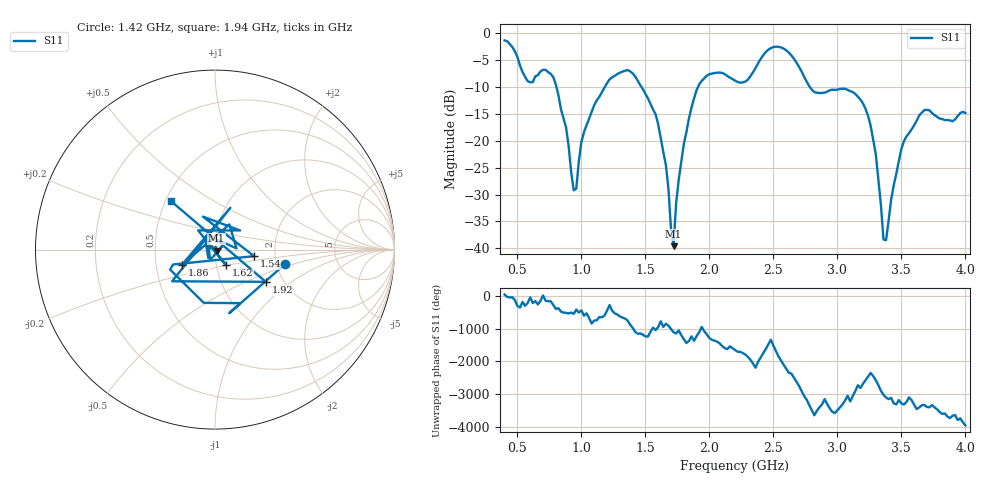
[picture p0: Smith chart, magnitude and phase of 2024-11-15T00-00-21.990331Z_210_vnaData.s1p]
!Created with skrf (http://scikit-rf.org).
# Hz S RI R 50.0
!freq ReS11 ImS11
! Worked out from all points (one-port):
!   181 points, 400 MHz to 4 GHz, reference 50 ohm
!   lowest |S11| = -39.6 dB at 1.72 GHz (marker M1), VSWR 1.02, Z = 50.9 - j0.531 ohm
!   |S11| at or under -10 dB: 805.1 MHz to 1.182 GHz (377.2 MHz wide, 38 % of centre); 1.47 GHz to 1.91 GHz (440.4 MHz wide, 26.1 % of centre); 2.786 GHz to end of sweep
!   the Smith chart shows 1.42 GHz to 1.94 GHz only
!   S11 on the Smith chart (normalised r, x): 1.42 GHz: 2.22, -0.43; 1.54 GHz: 1.55, -0.12; 1.62 GHz: 1.11, -0.19; 1.86 GHz: 0.68, -0.12; 1.92 GHz: 1.62, -0.66; 1.94 GHz: 0.54, +0.33
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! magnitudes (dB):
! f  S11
! 400 MHz  -1.3
! 580 MHz  -8.9
! 780 MHz  -8.1
! 860 MHz  -15.8
! 960 MHz  -28.9
! 1.04 GHz  -17.1
! 1.3 GHz  -7.3
! 1.42 GHz  -8.0
! 1.54 GHz  -13.1
! 1.62 GHz  -19.5
! 1.66 GHz  -24.5
! 1.72 GHz  -39.6
! 1.76 GHz  -27.3
! 1.86 GHz  -13.8
! 1.92 GHz  -9.5
! 1.94 GHz  -8.8
! 2.2 GHz  -8.8
! 2.5 GHz  -2.6
! 2.66 GHz  -4.7
! 2.82 GHz  -10.9
! 3.1 GHz  -10.8
! 3.26 GHz  -17.2
! 3.3 GHz  -22.5
! 3.36 GHz  -38.4
! 3.5 GHz  -21.5
! 3.56 GHz  -18.6
! 3.68 GHz  -14.3
! 4 GHz  -14.8
